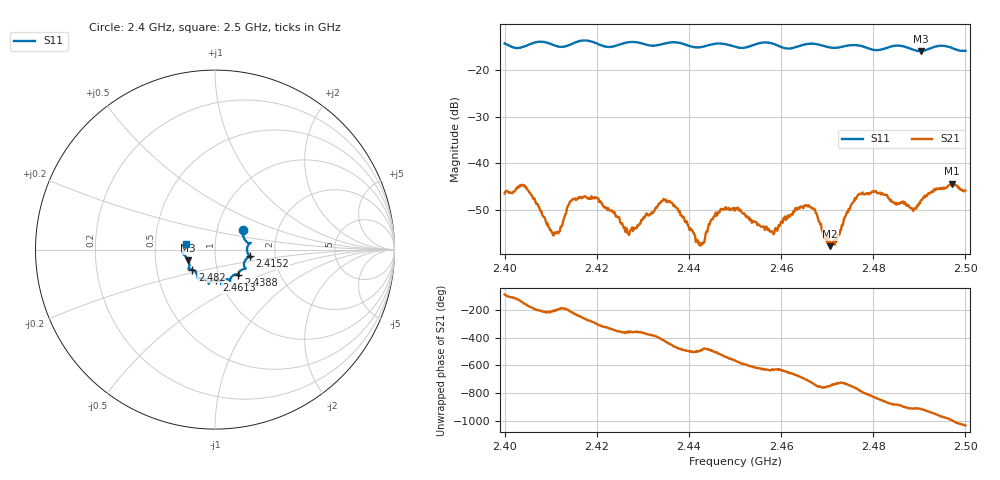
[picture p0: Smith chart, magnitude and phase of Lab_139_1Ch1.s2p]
# Hz S RI R 50
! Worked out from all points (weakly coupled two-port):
!   601 points, 2.4 GHz to 2.5 GHz, reference 50 ohm
!   highest |S21| = -44.39 dB at 2.497 GHz (marker M1); lowest = -57.8 dB at 2.4707 GHz (marker M2)
!   lowest |S11| = -15.9 dB at 2.4903 GHz (marker M3), VSWR 1.38, Z = 36.8 - j4.47 ohm
!   |S11| at or under -10 dB: start of sweep to end of sweep
!   S12 and S22 are empty: the file has one direction only
!   S11 on the Smith chart (normalised r, x): 2.4 GHz: 1.33, +0.31; 2.4152 GHz: 1.48, -0.12; 2.4388 GHz: 1.24, -0.36; 2.4613 GHz: 0.96, -0.34; 2.482 GHz: 0.76, -0.17; 2.5 GHz: 0.72, +0.05
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2.4e9  0.1583 0.1118  0.000376 -0.00472  0 0  0 0
2.404333e9  0.175 0.0442  -0.00518 -0.00262  0 0  0 0
2.410833e9  0.1834 0.0222  -0.00169 0.000634  0 0  0 0
2.415167e9  0.1937 -0.0376  -0.00293 0.00289  0 0  0 0
2.416667e9  0.2033 -0.0439  -0.00156 0.0039  0 0  0 0
2.420167e9  0.1878 -0.043  0.00221 0.00359  0 0  0 0
2.426667e9  0.1699 -0.1041  0.00176 0.000183  0 0  0 0
2.433333e9  0.1324 -0.1314  0.00284 -0.00207  0 0  0 0
2.438833e9  0.1296 -0.1407  -0.00159 -0.00211  0 0  0 0
2.442667e9  0.0932 -0.1509  -0.00083 -0.00111  0 0  0 0
2.445333e9  0.0836 -0.172  -0.00194 -0.00179  0 0  0 0
2.45e9  0.0689 -0.1649  -0.00283 0.00124  0 0  0 0
2.458e9  0.0376 -0.191  0.000139 0.00185  0 0  0 0
2.461333e9  0.00758 -0.171  0.000772 0.00242  0 0  0 0
2.466667e9  -0.0348 -0.19  0.00328 -0.000317  0 0  0 0
2.470667e9  -0.0502 -0.1683  0.00113 -0.000611  0 0  0 0
2.4765e9  -0.0961 -0.1591  0.0029 -0.00332  0 0  0 0
2.482e9  -0.1257 -0.1116  -0.00326 -0.00347  0 0  0 0
2.483333e9  -0.1394 -0.1088  -0.00371 -0.00197  0 0  0 0
2.490333e9  -0.1492 -0.0592  -0.00382 0.00114  0 0  0 0
2.497e9  -0.1741 -0.0111  0.000668 0.00599  0 0  0 0
2.5e9  -0.159 0.0325  0.0036 0.00362  0 0  0 0
